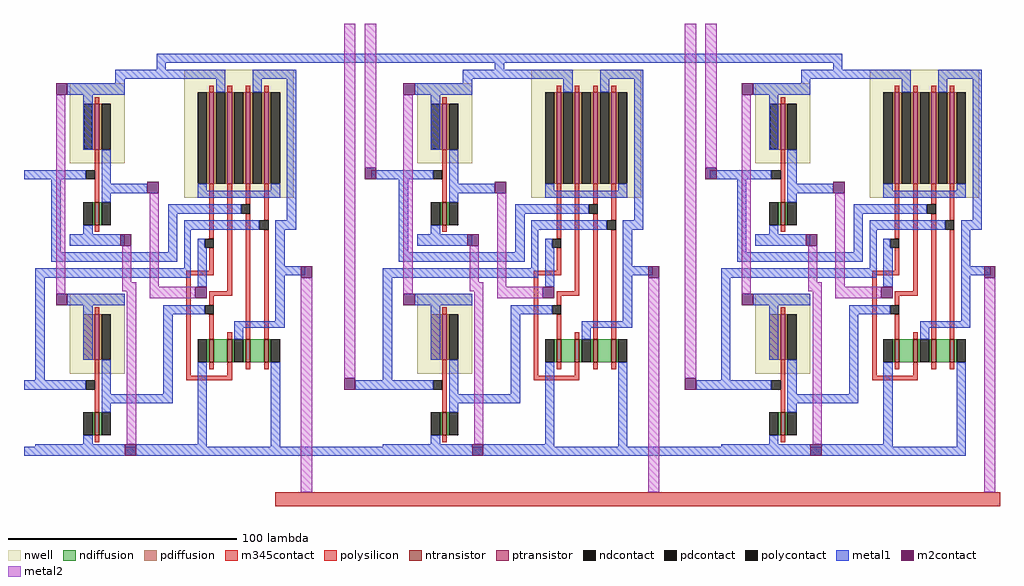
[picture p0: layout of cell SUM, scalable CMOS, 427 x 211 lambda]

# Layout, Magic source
magic
tech scmos
<< metal1 >>
rect 58 172 358 176
rect 58 165 62 172
rect 206 165 210 172
rect 354 165 358 172
rect 154 121 156 125
rect 303 121 314 125
rect 145 29 154 33
rect 294 29 318 33
rect 0 0 412 4
<< m2contact >>
rect 149 121 154 126
rect 298 121 303 126
rect 121 78 126 83
rect 273 78 278 83
rect 420 78 425 83
rect 140 29 145 34
rect 289 29 294 34
<< metal2 >>
rect 121 -16 126 78
rect 140 34 145 189
rect 149 126 154 189
rect 273 -16 278 78
rect 289 34 294 189
rect 298 126 303 189
rect 420 -16 425 78
<< m345contact >>
rect 110 -22 427 -16
use XOR_WO  XOR_WO_0
transform 1 0 20 0 1 92
box -20 -92 103 77
use XOR_WO  XOR_WO_1
transform 1 0 172 0 1 92
box -20 -92 103 77
use XOR_WO  XOR_WO_2
transform 1 0 320 0 1 92
box -20 -92 103 77
<< end >>

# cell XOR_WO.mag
magic
tech scmos
<< nwell >>
rect 50 21 98 77
<< ntransistor >>
rect 61 -51 63 -41
rect 69 -51 71 -41
rect 77 -51 79 -41
rect 85 -51 87 -41
<< ptransistor >>
rect 61 27 63 67
rect 69 27 71 67
rect 77 27 79 67
rect 85 27 87 67
<< ndiffusion >>
rect 60 -51 61 -41
rect 63 -51 69 -41
rect 71 -51 72 -41
rect 76 -51 77 -41
rect 79 -51 85 -41
rect 87 -51 88 -41
<< pdiffusion >>
rect 60 27 61 67
rect 63 27 64 67
rect 68 27 69 67
rect 71 27 72 67
rect 76 27 77 67
rect 79 27 80 67
rect 84 27 85 67
rect 87 27 88 67
<< ndcontact >>
rect 56 -51 60 -41
rect 72 -51 76 -41
rect 88 -51 92 -41
<< pdcontact >>
rect 6 42 10 62
rect 56 27 60 67
rect 64 27 68 67
rect 72 27 76 67
rect 80 27 84 67
rect 88 27 92 67
<< polysilicon >>
rect 61 67 63 70
rect 69 67 71 70
rect 77 67 79 70
rect 85 67 87 70
rect 61 3 63 27
rect 61 -11 63 -1
rect 51 -13 63 -11
rect 51 -57 53 -13
rect 69 -20 71 27
rect 77 18 79 27
rect 61 -22 71 -20
rect 61 -26 63 -22
rect 61 -41 63 -30
rect 69 -41 71 -38
rect 77 -41 79 14
rect 85 11 87 27
rect 85 -41 87 7
rect 61 -54 63 -51
rect 69 -57 71 -51
rect 77 -54 79 -51
rect 85 -54 87 -51
rect 51 -59 71 -57
<< polycontact >>
rect 59 -1 63 3
rect 75 14 79 18
rect 59 -30 63 -26
rect 83 7 87 11
<< metal1 >>
rect 20 73 68 77
rect 20 71 24 73
rect -1 66 24 71
rect 64 67 68 73
rect 80 73 99 77
rect 80 67 84 73
rect -20 29 6 33
rect -8 -3 -4 29
rect 21 23 34 27
rect 56 24 60 27
rect 88 24 92 27
rect 56 21 92 24
rect 43 14 75 18
rect 43 -3 47 14
rect 95 11 99 73
rect -8 -7 47 -3
rect 50 7 83 11
rect 90 7 99 11
rect 50 -10 53 7
rect -15 -14 53 -10
rect 56 -1 59 3
rect -15 -59 -11 -14
rect 56 -18 60 -1
rect -1 -26 24 -21
rect 90 -9 94 7
rect 90 -13 103 -9
rect 41 -30 59 -26
rect -20 -63 5 -59
rect 41 -65 45 -30
rect 90 -33 94 -13
rect 72 -36 94 -33
rect 72 -41 76 -36
rect 18 -69 45 -65
rect 56 -87 60 -51
rect -15 -92 24 -87
rect 29 -88 60 -87
rect 88 -88 92 -51
rect 29 -92 92 -88
<< m2contact >>
rect -6 66 -1 71
rect 34 23 39 28
rect 22 0 27 5
rect -6 -26 -1 -21
rect 55 -23 60 -18
rect 24 -92 29 -87
<< metal2 >>
rect -6 -21 -2 66
rect 23 -16 27 0
rect 23 -20 29 -16
rect 25 -87 29 -20
rect 35 -18 39 23
rect 35 -23 55 -18
use 2INV  2INV_0
transform 1 0 0 0 1 -45
box 0 45 24 116
use 2INV  2INV_1
transform 1 0 0 0 1 -137
box 0 45 24 116
<< end >>

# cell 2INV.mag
magic
tech scmos
<< nwell >>
rect 0 81 24 116
<< ntransistor >>
rect 11 54 13 64
<< ptransistor >>
rect 11 87 13 107
<< ndiffusion >>
rect 10 54 11 64
rect 13 54 14 64
<< pdiffusion >>
rect 6 87 11 107
rect 13 87 14 107
<< ndcontact >>
rect 6 54 10 64
rect 14 54 18 64
<< pdcontact >>
rect 14 87 18 107
<< polysilicon >>
rect 11 107 13 110
rect 11 64 13 87
rect 11 51 13 54
<< polycontact >>
rect 7 74 11 78
<< metal1 >>
rect 0 111 24 116
rect 6 87 10 111
rect 0 74 7 78
rect 14 72 18 87
rect 14 68 24 72
rect 14 64 18 68
rect 6 50 10 54
rect 0 45 24 50
<< end >>
